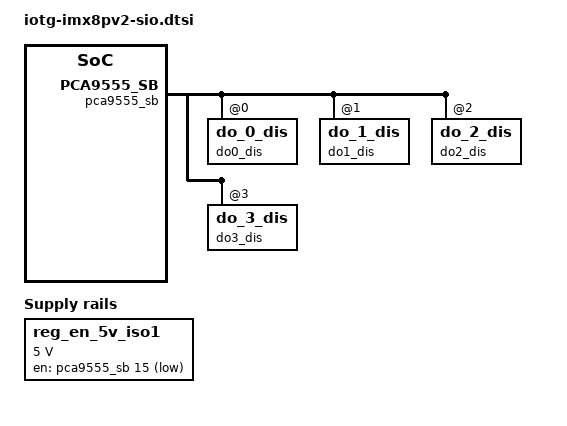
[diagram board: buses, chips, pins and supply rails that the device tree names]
/*
 * Copyright 2026 CompuLab
 */

/******** IOT-GATE-IMX8PV2 Industrial I/O ********/

/* EN_5V_ISO1 */
&{/} {
	reg_en_5v_iso1: regulator-en-5v-iso1 {
		compatible = "regulator-fixed";
		regulator-name = "5V_EN_ISO1_REG";
		regulator-min-microvolt = <5000000>;
		regulator-max-microvolt = <5000000>;
		gpio = <&pca9555_sb 15 GPIO_ACTIVE_HIGH>;
		regulator-always-on;
		/* By default, it remains disabled and can only be enabled
		   by adding an ad-hoc device tree overlay with the
		   'enable-active-high' property specified
		*/
	};
};

/******** Industrial I/O Part A ********/
/* MUX SEL A */
&gpio4 {
	status = "okay";

	sel_a: sel-a {
		pinctrl-names = "default";
		pinctrl-0 = <&pinctrl_sel_a>;
		gpio-hog;
		gpios = <30 GPIO_ACTIVE_HIGH>;
		status = "disabled";
	};
};

/* CAN A */
can_a: &flexcan2 {
	status = "disabled";
};

/* RS485 A */
rs485_a: &uart3 {
	status = "disabled";
};
/******** Industrial I/O Part A - End ********/

/******** Industrial I/O Part B ********/
/* MUX SEL B */
&gpio5 {
	status = "okay";

	sel_b: sel-b {
		pinctrl-names = "default";
		pinctrl-0 = <&pinctrl_sel_b>;
		gpio-hog;
		gpios = <1 GPIO_ACTIVE_HIGH>;
		status = "disabled";
	};
};

/* CAN B */
can_b: &flexcan1 {
	status = "disabled";
};

/* RS485 B */
rs485_b: &uart1 {
	status = "disabled";
};
/******** Industrial I/O Part B - End ********/

/******** Industrial I/O: DIxOx ********/
/******** Digital Inputs ********/
/*
 * By default, all Digital Inputs (DIs) are enabled.
 * In this implementation, the underlying GPIOs are configured
 * as inputs with the pull-down enabled.
 * As a result, these GPIOs are accessible from userspace.
 *
 * To disable a specific DI, the corresponding GPIO must be hogged
 * as an input by means of an ad-hoc device tree overlay.
 */

&gpio3 {
	pinctrl-names = "default";
	pinctrl-0 = <&pinctrl_di0_di1>;
	status = "okay";

	di0_dis: di_0_dis@0 {
		gpio-hog;
		gpios = <19 GPIO_ACTIVE_HIGH>;
		input;
		line-name = "DI0 disabled";
		status = "disabled";
	};
	di1_dis: di_1_dis@1 {
		gpio-hog;
		gpios = <20 GPIO_ACTIVE_HIGH>;
		input;
		line-name = "DI1 disabled";
		status = "disabled";
	};
};

&gpio2 {
	pinctrl-names = "default";
	pinctrl-0 = <&pinctrl_di2_di3>;
	status = "okay";

	di2_dis: di_2_dis@2 {
		gpio-hog;
		gpios = <20 GPIO_ACTIVE_HIGH>;
		input;
		line-name = "DI2 disabled";
		status = "disabled";
	};
	di3_dis: di_3_dis@3 {
		gpio-hog;
		gpios = <10 GPIO_ACTIVE_HIGH>;
		input;
		line-name = "DI3 disabled";
		status = "disabled";
	};
};
/******** Digital Inputs - End ********/

/******** Digital Ouputs ********/
/*
 * By default, all Digital Outputs (DOs) are disabled.
 * In this implementation, all underlying GPIOs are configured
 * as outputs driven to the low state (gpio-hog).
 * As a result, these GPIOs cannot be accessed from userspace.
 *
 * To enable a specific DO, the underlying output GPIO must be un-hogged
 * by means of an ad-hoc device tree overlay.
 */
&pca9555_sb {
	do0_dis: do_0_dis@0 {
		gpio-hog;
		gpios = <4 GPIO_ACTIVE_HIGH>;
		output-low;
		line-name = "DO0 disabled";
		status = "okay";
	};
	do1_dis: do_1_dis@1 {
		gpio-hog;
		gpios = <5 GPIO_ACTIVE_HIGH>;
		output-low;
		line-name = "DO1 disabled";
		status = "okay";
	};
	do2_dis: do_2_dis@2 {
		gpio-hog;
		gpios = <6 GPIO_ACTIVE_HIGH>;
		output-low;
		line-name = "DO2 disabled";
		status = "okay";
};
	do3_dis: do_3_dis@3 {
		gpio-hog;
		gpios = <7 GPIO_ACTIVE_HIGH>;
		output-low;
		line-name = "DO3 disabled";
		status = "okay";
	};
};
/******** Digital Ouputs - End ********/
/******** Industrial I/O: DIxOx - End ********/

&iomuxc {
	pinctrl_flexcan1: flexcan1grp {
		fsl,pins = <
			MX8MP_IOMUXC_SPDIF_TX__CAN1_TX				0x154
			MX8MP_IOMUXC_SAI2_TXC__CAN1_RX				0x154
		>;
	};

	pinctrl_di0_di1: di0di1grp {
		fsl,pins = <
			MX8MP_IOMUXC_SAI5_RXFS__GPIO3_IO19			0x100 /* DI0 */
			MX8MP_IOMUXC_SAI5_RXC__GPIO3_IO20			0x100 /* DI1 */
		>;
	};
	pinctrl_di2_di3: di2di3grp {
		fsl,pins = <
			MX8MP_IOMUXC_SD2_WP__GPIO2_IO20				0x100 /* DI2 */
			MX8MP_IOMUXC_SD1_RESET_B__GPIO2_IO10			0x100 /* DI3 */
		>;
	};

	pinctrl_sel_a: selagrp {
		fsl,pins = <
			MX8MP_IOMUXC_SAI3_RXD__GPIO4_IO30			0x140 /* SEL_A */
		>;
	};

	pinctrl_sel_b: selbgrp {
		fsl,pins = <
			MX8MP_IOMUXC_SAI3_TXD__GPIO5_IO01			0x140 /* SEL_B */
		>;
	};

	pinctrl_uart1: uart1grp {
		fsl,pins = <
			MX8MP_IOMUXC_SAI2_RXC__UART1_DCE_RX			0x140
			MX8MP_IOMUXC_SAI2_RXFS__UART1_DCE_TX			0x140
		>;
	};
};

/******** IOT-GATE-IMX8PV2 Industrial I/O - End ********/
